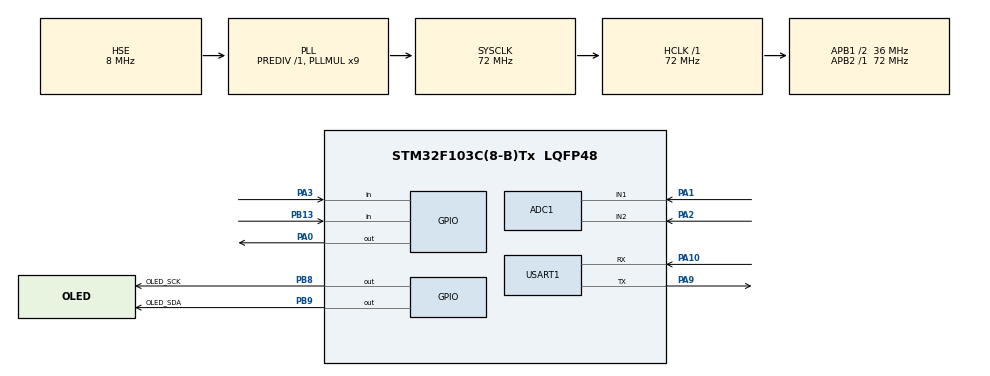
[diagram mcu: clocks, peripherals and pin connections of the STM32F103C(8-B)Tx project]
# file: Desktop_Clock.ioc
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ADC1.Channel-2\#ChannelRegularConversion=ADC_CHANNEL_1
ADC1.NbrOfConversionFlag=1
ADC1.Rank-2\#ChannelRegularConversion=1
ADC1.SamplingTime-2\#ChannelRegularConversion=ADC_SAMPLETIME_1CYCLE_5
ADC1.master=1
FREERTOS.BinarySemaphores01=BinSem_OLED,Dynamic,NULL,Depleted
FREERTOS.INCLUDE_xSemaphoreGetMutexHolder=0
FREERTOS.Mutexes01=Mutex_OLED,Dynamic,NULL,Available
FREERTOS.Tasks01=Task_GetTime,24,128,AppTask_GetTime,Default,NULL,Dynamic,NULL,NULL;Task_OledShow,24,128,AppTask_OledShow,Default,NULL,Dynamic,NULL,NULL
Mcu.Family=STM32F1
Mcu.Name=STM32F103C(8-B)Tx
Mcu.Package=LQFP48
NVIC.PriorityGroup=NVIC_PRIORITYGROUP_4
NVIC.TIM2_IRQn=true\:5\:0\:false\:false\:true\:true\:true\:true\:true
NVIC.TIM4_IRQn=true\:0\:0\:true\:false\:true\:false\:false\:true\:true
NVIC.TimeBase=TIM4_IRQn
NVIC.TimeBaseIP=TIM4
NVIC.USART1_IRQn=true\:5\:0\:false\:false\:true\:true\:true\:true\:true
PA0-WKUP.Signal=GPIO_Output
PA1.Signal=ADCx_IN1
PA10.Mode=Asynchronous
PA10.Signal=USART1_RX
PA13.Mode=Serial_Wire
PA13.Signal=SYS_JTMS-SWDIO
PA14.Mode=Serial_Wire
PA14.Signal=SYS_JTCK-SWCLK
PA2.Signal=ADCx_IN2
PA3.GPIO_PuPd=GPIO_PULLUP
PA3.Signal=GPIO_Input
PA9.Mode=Asynchronous
PA9.Signal=USART1_TX
PB13.GPIO_PuPd=GPIO_PULLUP
PB13.Signal=GPIO_Input
PB8.GPIO_Label=OLED_SCK
PB8.Signal=GPIO_Output
PB9.GPIO_Label=OLED_SDA
PB9.Signal=GPIO_Output
PD0-OSC_IN.Mode=HSE-External-Oscillator
PD0-OSC_IN.Signal=RCC_OSC_IN
PD1-OSC_OUT.Mode=HSE-External-Oscillator
PD1-OSC_OUT.Signal=RCC_OSC_OUT
ProjectManager.HeapSize=0x200
ProjectManager.StackSize=0x400
ProjectManager.TargetToolchain=MDK-ARM V5.32
RCC.ADCPresc=RCC_ADCPCLK2_DIV6
RCC.AHBFreq_Value=72000000
RCC.APB1CLKDivider=RCC_HCLK_DIV2
RCC.APB1Freq_Value=36000000
RCC.APB1TimFreq_Value=72000000
RCC.APB2Freq_Value=72000000
RCC.APB2TimFreq_Value=72000000
RCC.HCLKFreq_Value=72000000
RCC.PLLMUL=RCC_PLL_MUL9
RCC.PLLSourceVirtual=RCC_PLLSOURCE_HSE
RCC.SYSCLKFreq_VALUE=72000000
RCC.SYSCLKSource=RCC_SYSCLKSOURCE_PLLCLK
RCC.USBFreq_Value=72000000
SH.ADCx_IN1.0=ADC1_IN1,IN1
SH.ADCx_IN2.0=ADC1_IN2,IN2
TIM2.Period=1000-1
TIM2.Prescaler=72-1
USART1.VirtualMode=VM_ASYNC
VP_FREERTOS_VS_CMSIS_V2.Mode=CMSIS_V2
VP_SYS_VS_tim4.Mode=TIM4
VP_TIM2_VS_ClockSourceINT.Mode=Internal
board=custom

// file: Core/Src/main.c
/* USER CODE BEGIN Header */
/**
  ******************************************************************************
  * @file           : main.c
  * @brief          : Main program body
  ******************************************************************************
  * @attention
  *
  * Copyright (c) 2024 STMicroelectronics.
  * All rights reserved.
  *
  * This software is licensed under terms that can be found in the LICENSE file
  * in the root directory of this software component.
  * If no LICENSE file comes with this software, it is provided AS-IS.
  *
  ******************************************************************************
  */
/* USER CODE END Header */
#include "main.h"
#include "cmsis_os.h"
#include "adc.h"
#include "tim.h"
#include "usart.h"
#include "gpio.h"

void SystemClock_Config(void);
void MX_FREERTOS_Init(void);

int main(void)
{

  /* MCU Configuration--------------------------------------------------------*/

  /* Reset of all peripherals, Initializes the Flash interface and the Systick. */
  HAL_Init();

  /* Configure the system clock */
  SystemClock_Config();

  /* Initialize all configured peripherals */
  MX_GPIO_Init();
  MX_TIM2_Init();
  MX_USART1_UART_Init();
  MX_ADC1_Init();
  /* USER CODE BEGIN 2 */
	Timer_Init();
	Uart_Init();
	OLED_Init();
//	Rocker_ADC();
  /* USER CODE END 2 */

  /* Init scheduler */
  osKernelInitialize();

  /* Call init function for freertos objects (in cmsis_os2.c) */
  MX_FREERTOS_Init();

  /* Start scheduler */
  osKernelStart();

  /* We should never get here as control is now taken by the scheduler */

  /* Infinite loop */
  while (1)
  {

  }
}

void SystemClock_Config(void)
{
  RCC_OscInitTypeDef RCC_OscInitStruct = {0};
  RCC_ClkInitTypeDef RCC_ClkInitStruct = {0};
  RCC_PeriphCLKInitTypeDef PeriphClkInit = {0};

  /** Initializes the RCC Oscillators according to the specified parameters
  * in the RCC_OscInitTypeDef structure.
  */
  RCC_OscInitStruct.OscillatorType = RCC_OSCILLATORTYPE_HSE;
  RCC_OscInitStruct.HSEState = RCC_HSE_ON;
  RCC_OscInitStruct.HSEPredivValue = RCC_HSE_PREDIV_DIV1;
  RCC_OscInitStruct.HSIState = RCC_HSI_ON;
  RCC_OscInitStruct.PLL.PLLState = RCC_PLL_ON;
  RCC_OscInitStruct.PLL.PLLSource = RCC_PLLSOURCE_HSE;
  RCC_OscInitStruct.PLL.PLLMUL = RCC_PLL_MUL9;
  if (HAL_RCC_OscConfig(&RCC_OscInitStruct) != HAL_OK)
  {
    Error_Handler();
  }

  /** Initializes the CPU, AHB and APB buses clocks
  */
  RCC_ClkInitStruct.ClockType = RCC_CLOCKTYPE_HCLK|RCC_CLOCKTYPE_SYSCLK
                              |RCC_CLOCKTYPE_PCLK1|RCC_CLOCKTYPE_PCLK2;
  RCC_ClkInitStruct.SYSCLKSource = RCC_SYSCLKSOURCE_PLLCLK;
  RCC_ClkInitStruct.AHBCLKDivider = RCC_SYSCLK_DIV1;
  RCC_ClkInitStruct.APB1CLKDivider = RCC_HCLK_DIV2;
  RCC_ClkInitStruct.APB2CLKDivider = RCC_HCLK_DIV1;

  if (HAL_RCC_ClockConfig(&RCC_ClkInitStruct, FLASH_LATENCY_2) != HAL_OK)
  {
    Error_Handler();
  }
  PeriphClkInit.PeriphClockSelection = RCC_PERIPHCLK_ADC;
  PeriphClkInit.AdcClockSelection = RCC_ADCPCLK2_DIV6;
  if (HAL_RCCEx_PeriphCLKConfig(&PeriphClkInit) != HAL_OK)
  {
    Error_Handler();
  }
}

void HAL_TIM_PeriodElapsedCallback(TIM_HandleTypeDef *htim)
{
  /* USER CODE BEGIN Callback 0 */
	if (htim->Instance == TIM2)
	{
		Error_Time++;
		Time_Count++;
	}

  /* USER CODE END Callback 0 */
  if (htim->Instance == TIM4) {
    HAL_IncTick();
  }
}

void Error_Handler(void)
{
  __disable_irq();
  while (1)
  {
  }
}

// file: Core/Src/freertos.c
/* USER CODE BEGIN Header */
/**
  ******************************************************************************
  * File Name          : freertos.c
  * Description        : Code for freertos applications
  ******************************************************************************
  * @attention
  *
  * Copyright (c) 2024 STMicroelectronics.
  * All rights reserved.
  *
  * This software is licensed under terms that can be found in the LICENSE file
  * in the root directory of this software component.
  * If no LICENSE file comes with this software, it is provided AS-IS.
  *
  ******************************************************************************
  */
/* USER CODE END Header */

#include "FreeRTOS.h"
#include "task.h"
#include "main.h"
#include "cmsis_os.h"

/* USER CODE BEGIN Includes */
#include "semphr.h"

/* USER CODE END Includes */

/* Definitions for Task_GetTime */
osThreadId_t Task_GetTimeHandle;
const osThreadAttr_t Task_GetTime_attributes = {
  .name = "Task_GetTime",
  .stack_size = 128 * 4,
  .priority = (osPriority_t) osPriorityNormal,
};
/* Definitions for Task_OledShow */
osThreadId_t Task_OledShowHandle;
const osThreadAttr_t Task_OledShow_attributes = {
  .name = "Task_OledShow",
  .stack_size = 128 * 4,
  .priority = (osPriority_t) osPriorityNormal,
};
/* Definitions for Mutex_OLED */
osMutexId_t Mutex_OLEDHandle;
const osMutexAttr_t Mutex_OLED_attributes = {
  .name = "Mutex_OLED"
};
/* Definitions for BinSem_OLED */
osSemaphoreId_t BinSem_OLEDHandle;
const osSemaphoreAttr_t BinSem_OLED_attributes = {
  .name = "BinSem_OLED"
};

void AppTask_GetTime(void *argument);
void AppTask_OledShow(void *argument);

void MX_FREERTOS_Init(void); /* (MISRA C 2004 rule 8.1) */

void MX_FREERTOS_Init(void) {
  /* Create the mutex(es) */
  /* creation of Mutex_OLED */
  Mutex_OLEDHandle = osMutexNew(&Mutex_OLED_attributes);

  /* Create the semaphores(s) */
  /* creation of BinSem_OLED */
  BinSem_OLEDHandle = osSemaphoreNew(1, 0, &BinSem_OLED_attributes);

  /* Create the thread(s) */
  /* creation of Task_GetTime */
  Task_GetTimeHandle = osThreadNew(AppTask_GetTime, NULL, &Task_GetTime_attributes);

  /* creation of Task_OledShow */
  Task_OledShowHandle = osThreadNew(AppTask_OledShow, NULL, &Task_OledShow_attributes);

}

void AppTask_GetTime(void *argument)
{
  /* USER CODE BEGIN AppTask_GetTime */
  /* Infinite loop */
	Boot_Num = 10;
	ESP8266_Init();
	ESP8266_GetTime();
	Boot_Num = 0;
	xSemaphoreGive(BinSem_OLEDHandle);
  for(;;)
  {
		Time_Keeping();
    vTaskDelay(pdMS_TO_TICKS(100));
  }
  /* USER CODE END AppTask_GetTime */
}

void AppTask_OledShow(void *argument)
{
  /* USER CODE BEGIN AppTask_OledShow */
  /* Infinite loop */
  for(;;)
  {
		Boot_Animation();
		if (xSemaphoreTake(BinSem_OLEDHandle, portMAX_DELAY) == pdTRUE)
		{
			xSemaphoreGive(BinSem_OLEDHandle);
			OLED_Menu0();
		}
    vTaskDelay(pdMS_TO_TICKS(100));
  }
  /* USER CODE END AppTask_OledShow */
}
